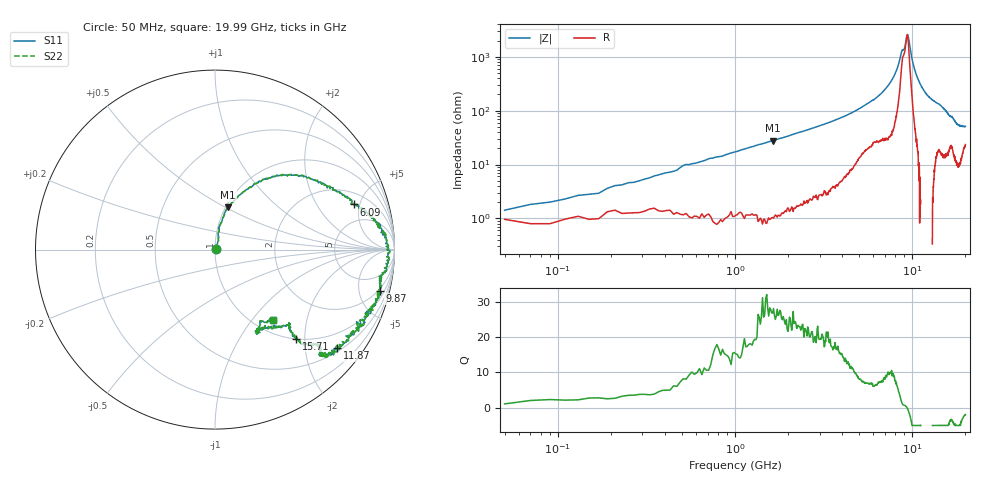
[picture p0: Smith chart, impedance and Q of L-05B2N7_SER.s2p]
! Data Taken on a HP 8720C VNA using a series-through fixture with TRL* de-embedding
#	mhz	s	ma	r	50
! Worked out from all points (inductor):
!   998 points, 50 MHz to 19.99 GHz, reference 50 ohm
!   read as one part in series: L = 2.67 nH near 230 MHz
!   highest Q = 27.4 at 1.63 GHz (marker M1), where L = 2.7 nH
!   self-resonance near 9.361 GHz
!   S11 on the Smith chart (normalised r, x): 50 MHz: 1.01, +0.01; 6.09 GHz: 2.96, +4.39; 9.87 GHz: 1.78, -7.68; 11.87 GHz: 0.58, -2.73; 15.71 GHz: 1.01, -1.82; 19.99 GHz: 1.21, -1.27
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50  0.00814 25.8  0.9883 -1.0  0.9883 -1.0  0.00814 25.8
150  0.02466 65.8  0.9902 -1.7  0.9902 -1.7  0.02466 65.8
250  0.03879 69.9  0.986 -2.9  0.986 -2.9  0.03879 69.9
570  0.09228 79.2  0.9828 -6.4  0.9828 -6.4  0.09228 79.2
1630  0.2457 72.7  0.9516 -16.6  0.9516 -16.6  0.2457 72.7
3390  0.4835 54.3  0.8447 -32.7  0.8447 -32.7  0.4835 54.3
4570  0.6404 40.2  0.7324 -43.8  0.7324 -43.8  0.6404 40.2
6090  0.8135 18.0  0.5342 -61.4  0.5342 -61.4  0.8135 18.0
6710  0.8776 13.0  0.432 -68.8  0.432 -68.8  0.8776 13.0
8050  0.9618 1.1  0.1939 -81.3  0.1939 -81.3  0.9618 1.1
9070  0.9409 -9.3  0.06364 -42.7  0.06364 -42.7  0.9409 -9.3
9390  0.9415 -12.1  0.03593 -4.1  0.03593 -4.1  0.9415 -12.1
9530  0.9481 -12.8  0.04057 27.9  0.04057 27.9  0.9481 -12.8
9870  0.9451 -14.1  0.08267 60.5  0.08267 60.5  0.9451 -14.1
10030  0.948 -15.9  0.1083 64.5  0.1083 64.5  0.948 -15.9
10710  0.9227 -23.3  0.2175 64.6  0.2175 64.6  0.9227 -23.3
11870  0.8756 -38.8  0.3742 55.3  0.3742 55.3  0.8756 -38.8
13350  0.8165 -44.3  0.5022 43.5  0.5022 43.5  0.8165 -44.3
15710  0.6709 -47.6  0.669 32.7  0.669 32.7  0.6709 -47.6
16670  0.581 -44.8  0.7104 27.8  0.7104 27.8  0.581 -44.8
18230  0.5064 -63.0  0.7921 18.7  0.7921 18.7  0.5064 -63.0
19990  0.506 -50.7  0.7943 11.1  0.7943 11.1  0.506 -50.7
